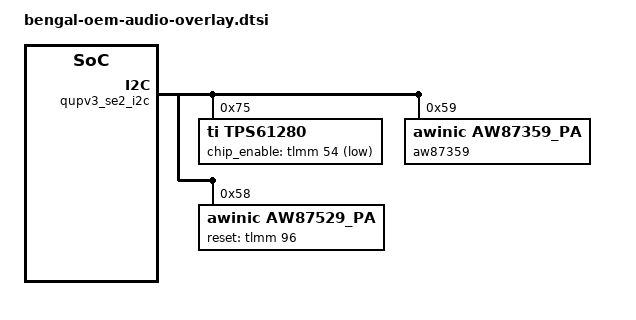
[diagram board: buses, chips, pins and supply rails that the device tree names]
/* add for audio bring up */
/*
&pil_adsp_mem {
        reg = <0x0 0x53800000 0x0 0x2800000>;
};

&reserved_memory {
		///delete-node/ &pil_ipa_fw_mem;
		///delete-node/ &pil_ipa_gsi_mem;
		///delete-node/ &pil_gpu_mem;
                pil_ipa_fw_mem: ipa_fw_region@56000000 {
                        compatible = "removed-dma-pool";
                        no-map;
                        reg = <0x0 0x56000000 0x0 0x10000>;
                };

                pil_ipa_gsi_mem: ipa_gsi_region@56010000 {
                        compatible = "removed-dma-pool";
                        no-map;
                        reg = <0x0 0x56010000 0x0 0x5000>;
                };

                pil_gpu_mem: gpu_region@56015000 {
                        compatible = "removed-dma-pool";
                        no-map;
                        reg = <0x0 0x56015000 0x0 0x2000>;
                };
};

*/

&qupv3_se2_i2c {
        status = "ok";
        tps61280@75 {
                compatible = "ti,tps61280";
                #address-cells = <1>;
                #size-cells = <0>;
                reg = <0x75>;
                tps61280,chip_enable = <&tlmm 54 0x01>;
                /*tps61280,chip_vsel = <&tlmm 52 0x01>;*/
        };

        aw87359@59 {
                status = "ok";
                compatible = "awinic,aw87359_pa";
                reg = <0x59>;
        };

        aw87529_pa@58 {
                status = "ok";
                compatible = "awinic,aw87529_pa";
                reg = <0x58>;
                reset-gpio = <&tlmm 96 0>;
        };

};

&bengal_snd {
        qcom,wsa-max-devs = <0>;
        qcom,wsa-devs = <0>;
        qcom,msm-mbhc-hs-mic-max-threshold-mv = <2550>;
        oplus,mbhc-headset-micbias-alwayon = <1>;
};

&wcd937x_codec {
        qcom,cdc-micbias2-mv = <2700>;
};


&wsa881x_i2c_e {
        status = "disabled";
};

&wsa881x_i2c_44 {
        status = "disabled";
};
